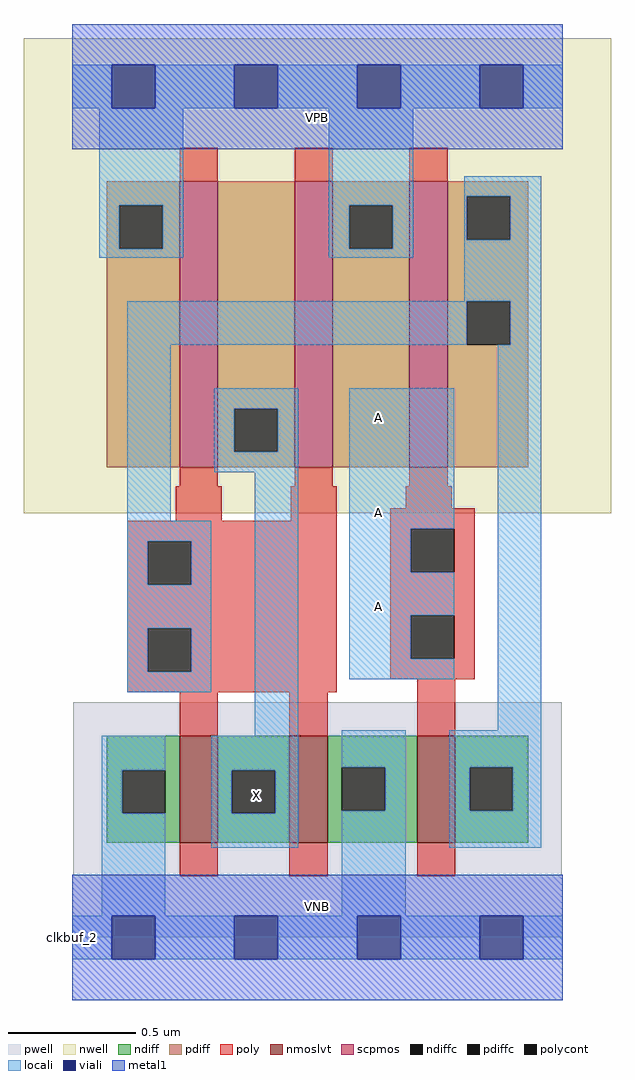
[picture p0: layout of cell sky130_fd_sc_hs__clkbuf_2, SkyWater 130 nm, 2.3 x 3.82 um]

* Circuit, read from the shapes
.subckt sky130_fd_sc_hs__clkbuf_2 A VGND VNB VPB VPWR X
XM1 X n1 VGND VNB sky130_fd_pr__nfet_01v8_lvt w=0.42 l=0.15 m=2
XM2 n1 A VGND VNB sky130_fd_pr__nfet_01v8_lvt w=0.42 l=0.15
XM3 X n1 VPWR VPB sky130_fd_pr__pfet_01v8 w=1.12 l=0.15 m=2
XM4 n1 A VPWR VPB sky130_fd_pr__pfet_01v8 w=1.12 l=0.15
.ends

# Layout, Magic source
magic
tech sky130A
magscale 1 2
<< nwell >>
rect -38 332 422 704
<< pwell >>
rect 1 49 383 184
rect 0 0 384 49
<< scpmos >>
rect 84 368 114 592
rect 174 368 204 592
rect 264 368 294 592
<< nmoslvt >>
rect 84 74 114 158
rect 170 74 200 158
rect 270 74 300 158
<< ndiff >>
rect 27 131 84 158
rect 27 97 39 131
rect 73 97 84 131
rect 27 74 84 97
rect 114 131 170 158
rect 114 97 125 131
rect 159 97 170 131
rect 114 74 170 97
rect 200 133 270 158
rect 200 99 211 133
rect 245 99 270 133
rect 200 74 270 99
rect 300 133 357 158
rect 300 99 311 133
rect 345 99 357 133
rect 300 74 357 99
<< pdiff >>
rect 27 573 84 592
rect 27 539 37 573
rect 71 539 84 573
rect 27 368 84 539
rect 114 414 174 592
rect 114 380 127 414
rect 161 380 174 414
rect 114 368 174 380
rect 204 573 264 592
rect 204 539 217 573
rect 251 539 264 573
rect 204 368 264 539
rect 294 580 357 592
rect 294 546 309 580
rect 343 546 357 580
rect 294 498 357 546
rect 294 464 309 498
rect 343 464 357 498
rect 294 368 357 464
<< ndiffc >>
rect 39 97 73 131
rect 125 97 159 131
rect 211 99 245 133
rect 311 99 345 133
<< pdiffc >>
rect 37 539 71 573
rect 127 380 161 414
rect 217 539 251 573
rect 309 546 343 580
rect 309 464 343 498
<< poly >>
rect 84 592 114 618
rect 174 592 204 618
rect 264 592 294 618
rect 84 353 114 368
rect 174 353 204 368
rect 264 353 294 368
rect 81 326 117 353
rect 171 326 207 353
rect 261 336 297 353
rect 43 310 207 326
rect 43 276 59 310
rect 93 276 207 310
rect 43 242 207 276
rect 43 208 59 242
rect 93 208 207 242
rect 43 192 207 208
rect 249 320 315 336
rect 249 286 265 320
rect 299 286 315 320
rect 249 252 315 286
rect 249 218 265 252
rect 299 218 315 252
rect 249 202 315 218
rect 84 158 114 192
rect 170 158 200 192
rect 270 158 300 202
rect 84 48 114 74
rect 170 48 200 74
rect 270 48 300 74
<< polycont >>
rect 59 276 93 310
rect 59 208 93 242
rect 265 286 299 320
rect 265 218 299 252
<< locali >>
rect 0 649 31 683
rect 65 649 127 683
rect 161 649 223 683
rect 257 649 319 683
rect 353 649 384 683
rect 21 573 87 649
rect 21 539 37 573
rect 71 539 87 573
rect 21 532 87 539
rect 201 573 267 649
rect 201 539 217 573
rect 251 539 267 573
rect 201 532 267 539
rect 307 580 367 596
rect 307 546 309 580
rect 343 546 367 580
rect 307 498 367 546
rect 43 464 309 498
rect 343 464 367 498
rect 43 326 77 464
rect 111 414 177 430
rect 111 380 127 414
rect 161 380 177 414
rect 111 364 177 380
rect 43 310 109 326
rect 43 276 59 310
rect 93 276 109 310
rect 43 242 109 276
rect 43 208 59 242
rect 93 208 109 242
rect 43 192 109 208
rect 143 158 177 364
rect 217 320 299 430
rect 217 286 265 320
rect 217 252 299 286
rect 217 218 265 252
rect 217 202 299 218
rect 333 162 367 464
rect 23 131 73 158
rect 23 97 39 131
rect 23 17 73 97
rect 109 131 177 158
rect 109 97 125 131
rect 159 97 177 131
rect 109 70 177 97
rect 211 133 261 162
rect 245 99 261 133
rect 211 17 261 99
rect 295 133 367 162
rect 295 99 311 133
rect 345 99 367 133
rect 295 70 367 99
rect 0 -17 31 17
rect 65 -17 127 17
rect 161 -17 223 17
rect 257 -17 319 17
rect 353 -17 384 17
<< viali >>
rect 31 649 65 683
rect 127 649 161 683
rect 223 649 257 683
rect 319 649 353 683
rect 31 -17 65 17
rect 127 -17 161 17
rect 223 -17 257 17
rect 319 -17 353 17
<< metal1 >>
rect 0 683 384 715
rect 0 649 31 683
rect 65 649 127 683
rect 161 649 223 683
rect 257 649 319 683
rect 353 649 384 683
rect 0 617 384 649
rect 0 17 384 49
rect 0 -17 31 17
rect 65 -17 127 17
rect 161 -17 223 17
rect 257 -17 319 17
rect 353 -17 384 17
rect 0 -49 384 -17
<< labels >>
rlabel comment s 0 0 0 0 4 clkbuf_2
flabel pwell s 0 0 384 49 0 FreeSans 200 0 0 0 VNB
port 3 nsew ground bidirectional
flabel nwell s 0 617 384 666 0 FreeSans 200 0 0 0 VPB
port 4 nsew power bidirectional
flabel metal1 s 0 617 384 666 0 FreeSans 340 0 0 0 VPWR
port 5 nsew power bidirectional
flabel metal1 s 0 0 384 49 0 FreeSans 340 0 0 0 VGND
port 2 nsew ground bidirectional
flabel locali s 127 94 161 128 0 FreeSans 340 0 0 0 X
port 6 nsew signal output
flabel locali s 223 242 257 276 0 FreeSans 340 0 0 0 A
port 1 nsew signal input
flabel locali s 223 316 257 350 0 FreeSans 340 0 0 0 A
port 1 nsew signal input
flabel locali s 223 390 257 424 0 FreeSans 340 0 0 0 A
port 1 nsew signal input
<< properties >>
string LEFsite unit
string LEFclass CORE
string FIXED_BBOX 0 0 384 666
string GDS_FILE $PDKPATH/libs.ref/sky130_fd_sc_hs/gds/sky130_fd_sc_hs.gds
string LEFsymmetry X Y
string GDS_END 730920
string GDS_START 726754
<< end >>
